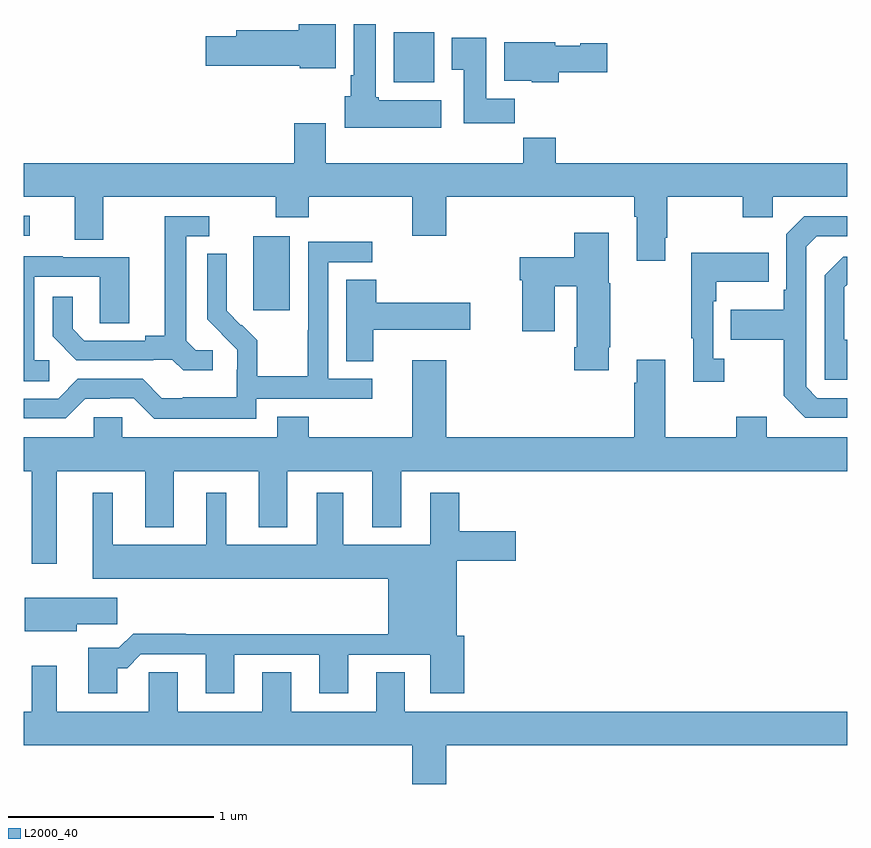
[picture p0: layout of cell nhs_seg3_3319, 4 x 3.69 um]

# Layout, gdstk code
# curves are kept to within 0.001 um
import gdstk
lib = gdstk.Library(unit=1e-6, precision=1e-09)
def R(c, l, rs):  # rectangles x0, y0, x1, y1
    for r in rs: c.add(gdstk.rectangle(r[:2], r[2:], *l))
def P(c, l, *ps):  # polygons
    for p in ps: c.add(gdstk.Polygon(p, *l))
L2000_40 = (2000, 40)

nhs_seg3_3319 = lib.new_cell('nhs_seg3_3319')
R(nhs_seg3_3319, L2000_40, [(284.114,723.009,284.293,723.37), (283,723.372,283.03,723.468), (284.798,724.118,284.995,724.36)])
P(nhs_seg3_3319, L2000_40, [(284.515,724.4),(284.336,724.4),(284.336,724.37),(284.033,724.37),(284.033,724.34),(283.884,724.34),(283.884,724.198),(284.34,724.198),(284.34,724.184),(284.515,724.184)],
  [(285.028,724.03),(284.724,724.03),(284.724,724.044),(284.71,724.044),(284.71,724.4),(284.603,724.4),(284.603,724.15),(284.588,724.15),(284.588,724.05),(284.558,724.05),(284.558,723.896),(285.028,723.896)],
  [(285.386,724.036),(285.247,724.036),(285.247,724.333),(285.08,724.333),(285.08,724.177),(285.137,724.177),(285.137,723.918),(285.386,723.918)],
  [(285.599,724.165),(285.835,724.165),(285.835,724.307),(285.702,724.307),(285.702,724.294),(285.582,724.294),(285.582,724.312),(285.335,724.312),(285.335,724.124),(285.468,724.124),(285.468,724.118),(285.599,724.118)],
  [(286.117,723.361),(286.125,723.361),(286.125,723.56),(286.492,723.56),(286.492,723.461),(286.638,723.461),(286.638,723.56),(287,723.56),(287,723.724),(285.584,723.724),(285.584,723.848),(285.427,723.848),(285.427,723.724),(284.467,723.724),(284.467,723.919),(284.315,723.919),(284.315,723.724),(283,723.724),(283,723.56),(283.247,723.56),(283.247,723.352),(283.387,723.352),(283.387,723.56),(284.224,723.56),(284.224,723.461),(284.384,723.461),(284.384,723.56),(284.888,723.56),(284.888,723.372),(285.052,723.372),(285.052,723.56),(285.965,723.56),(285.965,723.464),(285.977,723.464),(285.977,723.249),(286.117,723.249)],
  [(283.918,722.814),(283.836,722.814),(283.789,722.861),(283.789,723.369),(283.9,723.369),(283.9,723.465),(283.685,723.465),(283.685,722.885),(283.589,722.885),(283.589,722.862),(283.294,722.862),(283.237,722.919),(283.237,723.076),(283.14,723.076),(283.14,722.882),(283.256,722.766),(283.628,722.766),(283.628,722.769),(283.722,722.769),(283.774,722.717),(283.918,722.717)],
  [(287,722.583),(286.854,722.583),(286.8,722.637),(286.8,723.318),(286.851,723.369),(287,723.369),(287,723.465),(286.791,723.465),(286.704,723.378),(286.704,723.109),(286.692,723.109),(286.692,723.013),(286.435,723.013),(286.435,722.866),(286.692,722.866),(286.692,722.593),(286.797,722.487),(287,722.487)],
  [(285.841,722.83),(285.849,722.83),(285.849,723.141),(285.841,723.141),(285.841,723.385),(285.674,723.385),(285.674,723.267),(285.41,723.267),(285.41,723.155),(285.422,723.155),(285.422,722.907),(285.58,722.907),(285.58,723.125),(285.686,723.125),(285.686,722.83),(285.674,722.83),(285.674,722.718),(285.841,722.718)],
  [(284.13,722.58),(284.692,722.58),(284.692,722.676),(284.478,722.676),(284.478,723.243),(284.692,723.243),(284.692,723.342),(284.382,723.342),(284.382,722.912),(284.38,722.912),(284.38,722.689),(284.135,722.689),(284.135,722.863),(284.058,722.94),(284.055,722.937),(283.985,723.008),(283.986,723.284),(283.89,723.284),(283.89,722.966),(284.036,722.818),(284.036,722.721),(284.034,722.721),(284.034,722.587),(283.771,722.587),(283.771,722.583),(283.671,722.583),(283.578,722.676),(283.263,722.676),(283.167,722.58),(283,722.58),(283,722.484),(283.203,722.484),(283.299,722.58),(283.418,722.58),(283.418,722.583),(283.533,722.583),(283.633,722.483),(284.13,722.483)],
  [(286.402,722.774),(286.35,722.774),(286.35,723.053),(286.363,723.053),(286.363,723.149),(286.619,723.149),(286.619,723.289),(286.242,723.289),(286.242,722.873),(286.253,722.873),(286.253,722.661),(286.402,722.661)],
  [(283.123,722.766),(283.05,722.766),(283.05,723.171),(283.368,723.171),(283.368,722.947),(283.513,722.947),(283.513,723.267),(283.189,723.267),(283.189,723.271),(283,723.271),(283,722.665),(283.123,722.665)],
  [(287,722.866),(286.986,722.866),(286.986,723.12),(287,723.134),(287,723.27),(286.98,723.27),(286.89,723.18),(286.89,722.673),(287,722.673)],
  [(284.698,722.915),(285.169,722.915),(285.169,723.045),(284.711,723.045),(284.711,723.158),(284.567,723.158),(284.567,722.761),(284.698,722.761)],
  [(283.479,722.49),(283.341,722.49),(283.341,722.392),(283,722.392),(283,722.228),(283.038,722.228),(283.038,721.779),(283.159,721.779),(283.159,722.228),(283.589,722.228),(283.589,721.955),(283.729,721.955),(283.729,722.228),(284.141,722.228),(284.141,721.955),(284.281,721.955),(284.281,722.228),(284.693,722.228),(284.693,721.955),(284.833,721.955),(284.833,722.228),(287,722.228),(287,722.392),(286.609,722.392),(286.609,722.491),(286.462,722.491),(286.462,722.392),(286.117,722.392),(286.117,722.77),(285.977,722.77),(285.977,722.657),(285.965,722.657),(285.965,722.392),(285.052,722.392),(285.052,722.767),(284.888,722.767),(284.888,722.392),(284.384,722.392),(284.384,722.491),(284.231,722.491),(284.231,722.392),(283.479,722.392)],
  [(283.453,721.271),(283.502,721.271),(283.569,721.338),(283.883,721.338),(283.883,721.149),(284.023,721.149),(284.023,721.335),(284.435,721.335),(284.435,721.149),(284.575,721.149),(284.575,721.335),(284.975,721.335),(284.975,721.149),(285.14,721.149),(285.14,721.428),(285.103,721.428),(285.103,721.793),(285.391,721.793),(285.391,721.935),(285.116,721.935),(285.116,722.122),(284.975,722.122),(284.975,721.87),(284.551,721.87),(284.551,722.122),(284.423,722.122),(284.423,721.87),(283.984,721.87),(283.984,722.122),(283.886,722.122),(283.886,721.87),(283.432,721.87),(283.432,722.122),(283.334,722.122),(283.334,721.706),(284.771,721.706),(284.771,721.436),(283.787,721.436),(283.787,721.439),(283.532,721.439),(283.462,721.369),(283.313,721.369),(283.313,721.149),(283.453,721.149)],
  [(283.258,721.483),(283.453,721.483),(283.453,721.612),(283.004,721.612),(283.004,721.451),(283.258,721.451)],
  [(285.052,720.896),(287,720.896),(287,721.06),(284.851,721.06),(284.851,721.25),(284.711,721.25),(284.711,721.06),(284.299,721.06),(284.299,721.25),(284.159,721.25),(284.159,721.06),(283.747,721.06),(283.747,721.25),(283.608,721.25),(283.608,721.06),(283.159,721.06),(283.159,721.282),(283.038,721.282),(283.038,721.06),(283,721.06),(283,720.896),(284.888,720.896),(284.888,720.708),(285.052,720.708)])

lib.write_gds('nhs_seg3_3319.gds')
